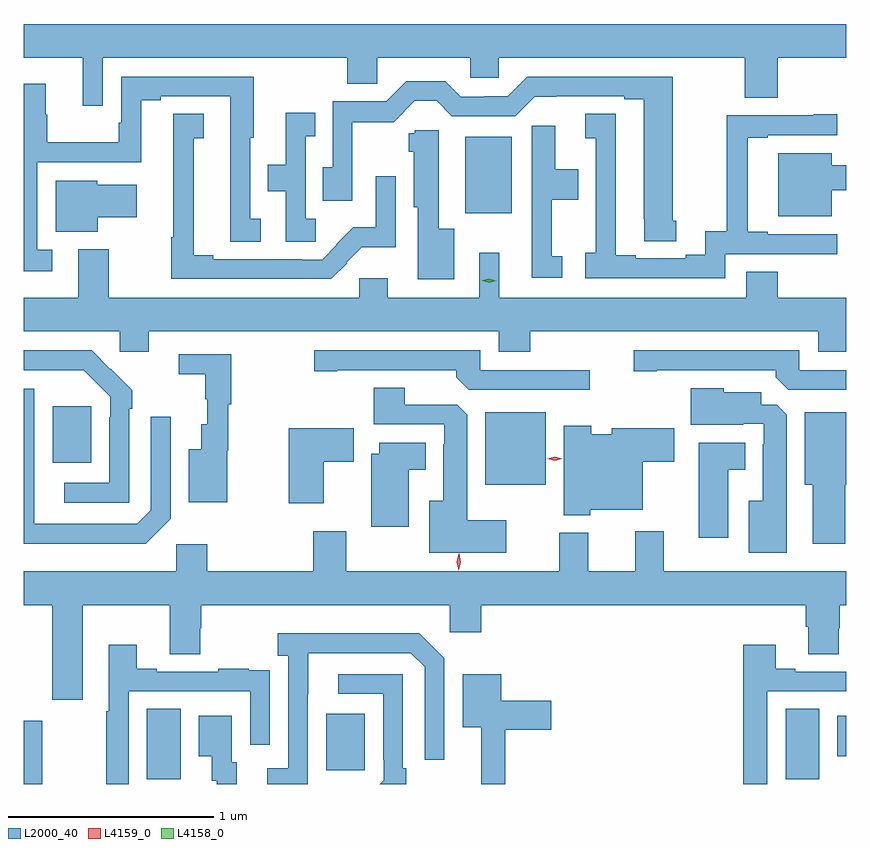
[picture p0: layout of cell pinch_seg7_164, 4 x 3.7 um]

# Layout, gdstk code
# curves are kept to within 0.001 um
import gdstk
lib = gdstk.Library(unit=1e-6, precision=1e-09)
def R(c, l, rs):  # rectangles x0, y0, x1, y1
    for r in rs: c.add(gdstk.rectangle(r[:2], r[2:], *l))
def P(c, l, *ps):  # polygons
    for p in ps: c.add(gdstk.Polygon(p, *l))
L2000_40 = (2000, 40)
L4158_0 = (4158, 0)
L4159_0 = (4159, 0)

pinch_seg7_164 = lib.new_cell('pinch_seg7_164')
R(pinch_seg7_164, L2000_40, [(1080.916,1035.71,1081.006,1036.018), (1081.514,1035.733,1081.678,1036.076), (1084.622,1035.733,1084.786,1036.076), (1082.387,1035.777,1082.575,1036.051), (1084.874,1035.845,1084.916,1036.042), (1083.161,1037.165,1083.454,1037.518), (1081.055,1037.273,1081.243,1037.548), (1083.062,1038.488,1083.289,1038.859)])
P(pinch_seg7_164, L2000_40, [(1081.299,1039.244),(1082.488,1039.244),(1082.488,1039.117),(1082.634,1039.117),(1082.634,1039.244),(1083.087,1039.244),(1083.087,1039.146),(1083.225,1039.146),(1083.225,1039.244),(1084.423,1039.244),(1084.423,1039.048),(1084.583,1039.048),(1084.583,1039.244),(1084.916,1039.244),(1084.916,1039.408),(1080.916,1039.408),(1080.916,1039.244),(1081.202,1039.244),(1081.202,1039.011),(1081.299,1039.011)],
  [(1084.09,1038.45),(1084.072,1038.45),(1084.072,1039.152),(1083.366,1039.152),(1083.27,1039.056),(1083.155,1039.056),(1083.155,1039.053),(1083.042,1039.053),(1082.966,1039.129),(1082.776,1039.129),(1082.679,1039.032),(1082.418,1039.032),(1082.418,1038.71),(1082.371,1038.71),(1082.371,1038.549),(1082.514,1038.549),(1082.514,1038.931),(1082.716,1038.931),(1082.818,1039.034),(1082.924,1039.034),(1082.997,1038.96),(1083.306,1038.96),(1083.401,1039.055),(1083.836,1039.056),(1083.836,1039.041),(1083.932,1039.041),(1083.933,1038.352),(1084.09,1038.352)],
  [(1081.054,1038.309),(1080.981,1038.309),(1080.981,1038.735),(1081.486,1038.735),(1081.486,1039.036),(1081.582,1039.036),(1081.582,1039.056),(1081.92,1039.056),(1081.92,1038.755),(1081.919,1038.755),(1081.919,1038.349),(1082.068,1038.349),(1082.068,1038.46),(1082.016,1038.46),(1082.016,1038.855),(1082.035,1038.855),(1082.035,1039.152),(1081.389,1039.152),(1081.389,1038.928),(1081.377,1038.928),(1081.377,1038.832),(1081.029,1038.832),(1081.029,1038.966),(1081.021,1038.966),(1081.021,1039.117),(1080.916,1039.117),(1080.916,1038.204),(1081.054,1038.204)],
  [(1082.335,1038.46),(1082.286,1038.46),(1082.286,1038.863),(1082.333,1038.863),(1082.333,1038.976),(1082.189,1038.976),(1082.189,1038.722),(1082.101,1038.722),(1082.101,1038.594),(1082.19,1038.594),(1082.19,1038.349),(1082.335,1038.349)],
  [(1082.488,1038.245),(1082.486,1038.248),(1082.559,1038.321),(1082.724,1038.321),(1082.724,1038.667),(1082.628,1038.667),(1082.628,1038.419),(1082.519,1038.419),(1082.436,1038.336),(1082.439,1038.333),(1082.367,1038.261),(1082.267,1038.261),(1082.267,1038.264),(1081.837,1038.264),(1081.837,1038.284),(1081.742,1038.284),(1081.742,1038.853),(1081.792,1038.853),(1081.792,1038.971),(1081.643,1038.971),(1081.643,1038.371),(1081.632,1038.371),(1081.632,1038.168),(1082.41,1038.168)],
  [(1084.329,1038.288),(1084.873,1038.288),(1084.873,1038.384),(1084.534,1038.384),(1084.534,1038.397),(1084.438,1038.397),(1084.438,1038.855),(1084.534,1038.855),(1084.534,1038.867),(1084.873,1038.867),(1084.873,1038.968),(1084.76,1038.968),(1084.76,1038.963),(1084.336,1038.963),(1084.336,1038.4),(1084.232,1038.4),(1084.232,1038.286),(1084.136,1038.286),(1084.136,1038.267),(1083.892,1038.267),(1083.892,1038.282),(1083.796,1038.282),(1083.796,1038.863),(1083.795,1038.863),(1083.795,1038.971),(1083.648,1038.971),(1083.648,1038.853),(1083.699,1038.853),(1083.699,1038.295),(1083.648,1038.295),(1083.648,1038.171),(1084.329,1038.171)],
  [(1083.535,1038.279),(1083.485,1038.279),(1083.485,1038.554),(1083.614,1038.554),(1083.614,1038.702),(1083.502,1038.702),(1083.502,1038.913),(1083.386,1038.913),(1083.386,1038.174),(1083.535,1038.174)],
  [(1083.01,1038.412),(1082.935,1038.412),(1082.935,1038.891),(1082.817,1038.891),(1082.817,1038.876),(1082.789,1038.876),(1082.789,1038.786),(1082.813,1038.786),(1082.813,1038.516),(1082.832,1038.516),(1082.832,1038.167),(1083.01,1038.167)],
  [(1084.846,1038.599),(1084.916,1038.599),(1084.916,1038.721),(1084.846,1038.721),(1084.846,1038.778),(1084.586,1038.778),(1084.586,1038.473),(1084.846,1038.473)],
  [(1081.276,1038.467),(1081.465,1038.467),(1081.465,1038.625),(1081.272,1038.625),(1081.272,1038.646),(1081.07,1038.646),(1081.07,1038.398),(1081.276,1038.398)],
  [(1082.547,1038.172),(1082.547,1038.076),(1081.329,1038.076),(1081.329,1038.313),(1081.181,1038.313),(1081.181,1038.076),(1080.916,1038.076),(1080.916,1037.912),(1081.383,1037.912),(1081.383,1037.814),(1081.522,1037.814),(1081.522,1037.912),(1083.227,1037.912),(1083.227,1037.813),(1083.38,1037.813),(1083.38,1037.912),(1084.781,1037.912),(1084.781,1037.813),(1084.916,1037.813),(1084.916,1038.076),(1084.583,1038.076),(1084.583,1038.203),(1084.43,1038.203),(1084.43,1038.076),(1083.229,1038.076),(1083.229,1038.295),(1083.132,1038.295),(1083.132,1038.076),(1082.686,1038.076),(1082.686,1038.172)],
  [(1081.428,1037.537),(1081.443,1037.537),(1081.443,1037.625),(1081.246,1037.82),(1080.916,1037.82),(1080.916,1037.724),(1081.207,1037.724),(1081.335,1037.595),(1081.335,1037.495),(1081.332,1037.495),(1081.332,1037.175),(1081.113,1037.175),(1081.113,1037.079),(1081.428,1037.079)],
  [(1083.67,1037.724),(1083.135,1037.724),(1083.135,1037.82),(1082.328,1037.82),(1082.328,1037.719),(1082.44,1037.719),(1082.44,1037.724),(1083.02,1037.724),(1083.02,1037.69),(1083.081,1037.628),(1083.67,1037.628)],
  [(1084.916,1037.724),(1084.689,1037.724),(1084.689,1037.82),(1083.882,1037.82),(1083.882,1037.719),(1083.994,1037.719),(1083.994,1037.724),(1084.574,1037.724),(1084.574,1037.69),(1084.635,1037.628),(1084.916,1037.628)],
  [(1081.906,1037.334),(1081.91,1037.334),(1081.91,1037.557),(1081.925,1037.557),(1081.925,1037.802),(1081.668,1037.802),(1081.668,1037.704),(1081.797,1037.704),(1081.797,1037.583),(1081.808,1037.583),(1081.808,1037.461),(1081.778,1037.461),(1081.778,1037.338),(1081.718,1037.338),(1081.718,1037.081),(1081.906,1037.081)],
  [(1083.262,1036.993),(1083.073,1036.993),(1083.073,1037.507),(1083.024,1037.556),(1082.77,1037.556),(1082.77,1037.639),(1082.618,1037.639),(1082.618,1037.46),(1082.961,1037.46),(1082.961,1037.363),(1082.957,1037.363),(1082.957,1037.089),(1082.888,1037.089),(1082.888,1036.835),(1083.262,1036.835)],
  [(1084.627,1037.507),(1084.578,1037.556),(1084.504,1037.556),(1084.504,1037.617),(1084.32,1037.617),(1084.32,1037.635),(1084.16,1037.635),(1084.16,1037.459),(1084.415,1037.459),(1084.415,1037.463),(1084.515,1037.463),(1084.515,1037.363),(1084.511,1037.363),(1084.511,1037.089),(1084.442,1037.089),(1084.442,1036.835),(1084.627,1036.835)],
  [(1081.629,1037.001),(1081.629,1037.497),(1081.533,1037.497),(1081.533,1037.043),(1081.467,1036.977),(1080.967,1036.977),(1080.967,1037.177),(1080.966,1037.177),(1080.966,1037.634),(1080.916,1037.634),(1080.916,1036.88),(1081.508,1036.88)],
  [(1084.912,1037.165),(1084.916,1037.165),(1084.916,1037.518),(1084.715,1037.518),(1084.715,1037.165),(1084.754,1037.165),(1084.754,1036.878),(1084.912,1036.878)],
  [(1083.672,1037.045),(1083.928,1037.045),(1083.928,1037.278),(1084.081,1037.278),(1084.081,1037.44),(1083.777,1037.44),(1083.777,1037.413),(1083.676,1037.413),(1083.676,1037.452),(1083.542,1037.452),(1083.542,1037.018),(1083.672,1037.018)],
  [(1082.374,1037.278),(1082.521,1037.278),(1082.521,1037.44),(1082.204,1037.44),(1082.204,1037.075),(1082.374,1037.075)],
  [(1082.788,1037.24),(1082.872,1037.24),(1082.872,1037.371),(1082.645,1037.371),(1082.645,1037.317),(1082.606,1037.317),(1082.606,1036.961),(1082.788,1036.961)],
  [(1084.342,1037.24),(1084.426,1037.24),(1084.426,1037.371),(1084.199,1037.371),(1084.199,1036.908),(1084.342,1036.908)],
  [(1081.201,1036.58),(1081.625,1036.58),(1081.625,1036.342),(1081.773,1036.342),(1081.773,1036.467),(1081.778,1036.467),(1081.778,1036.58),(1082.988,1036.58),(1082.988,1036.449),(1083.14,1036.449),(1083.14,1036.58),(1084.721,1036.58),(1084.721,1036.474),(1084.733,1036.474),(1084.733,1036.342),(1084.881,1036.342),(1084.881,1036.467),(1084.886,1036.467),(1084.886,1036.58),(1084.916,1036.58),(1084.916,1036.744),(1084.03,1036.744),(1084.03,1036.939),(1083.89,1036.939),(1083.89,1036.744),(1083.661,1036.744),(1083.661,1036.933),(1083.521,1036.933),(1083.521,1036.744),(1082.484,1036.744),(1082.484,1036.939),(1082.324,1036.939),(1082.324,1036.744),(1081.808,1036.744),(1081.808,1036.876),(1081.656,1036.876),(1081.656,1036.744),(1080.916,1036.744),(1080.916,1036.58),(1081.054,1036.58),(1081.054,1036.119),(1081.201,1036.119)],
  [(1082.298,1036.147),(1082.299,1036.347),(1082.799,1036.347),(1082.865,1036.281),(1082.865,1035.828),(1082.961,1035.828),(1082.961,1036.323),(1082.84,1036.444),(1082.151,1036.444),(1082.151,1036.334),(1082.202,1036.334),(1082.202,1035.786),(1082.1,1035.786),(1082.1,1035.71),(1082.298,1035.71)],
  [(1084.533,1036.161),(1084.916,1036.161),(1084.916,1036.257),(1084.669,1036.257),(1084.669,1036.27),(1084.573,1036.27),(1084.573,1036.387),(1084.417,1036.387),(1084.417,1035.71),(1084.533,1035.71)],
  [(1081.425,1036.161),(1082.016,1036.161),(1082.016,1035.9),(1082.112,1035.9),(1082.112,1036.154),(1082.111,1036.154),(1082.111,1036.263),(1082.009,1036.263),(1082.009,1036.27),(1081.861,1036.27),(1081.861,1036.257),(1081.561,1036.257),(1081.561,1036.27),(1081.465,1036.27),(1081.465,1036.387),(1081.329,1036.387),(1081.329,1036.064),(1081.317,1036.064),(1081.317,1035.71),(1081.425,1035.71)],
  [(1082.775,1035.787),(1082.76,1035.787),(1082.76,1036.245),(1082.445,1036.245),(1082.445,1036.149),(1082.664,1036.149),(1082.664,1035.829),(1082.667,1035.829),(1082.667,1035.729),(1082.648,1035.71),(1082.775,1035.71)],
  [(1083.257,1035.974),(1083.481,1035.974),(1083.481,1036.116),(1083.238,1036.116),(1083.238,1036.243),(1083.05,1036.243),(1083.05,1035.986),(1083.14,1035.986),(1083.14,1035.71),(1083.257,1035.71)],
  [(1081.951,1035.816),(1081.927,1035.816),(1081.927,1036.042),(1081.766,1036.042),(1081.766,1035.845),(1081.829,1035.845),(1081.829,1035.726),(1081.854,1035.726),(1081.854,1035.71),(1081.951,1035.71)])
P(pinch_seg7_164, L4158_0, [(1083.18,1038.149),(1083.145,1038.159),(1083.145,1038.159),(1083.145,1038.16),(1083.18,1038.169),(1083.215,1038.159),(1083.215,1038.158),(1083.215,1038.158)])
P(pinch_seg7_164, L4159_0, [(1083.498,1037.282),(1083.462,1037.292),(1083.461,1037.293),(1083.462,1037.293),(1083.498,1037.302),(1083.535,1037.293),(1083.535,1037.292),(1083.535,1037.292)],
  [(1083.032,1036.749),(1083.032,1036.749),(1083.022,1036.789),(1083.032,1036.83),(1083.032,1036.83),(1083.033,1036.83),(1083.042,1036.789),(1083.032,1036.749)])

lib.write_gds('pinch_seg7_164.gds')
